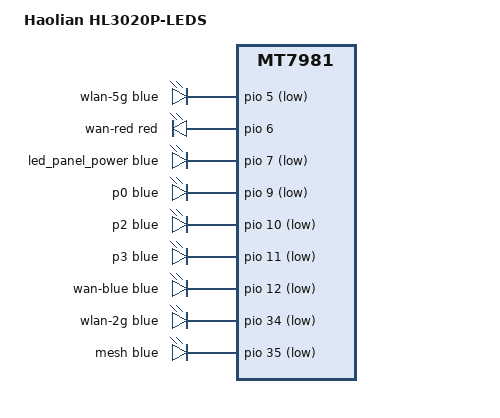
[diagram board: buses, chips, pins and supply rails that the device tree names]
// SPDX-License-Identifier: GPL-2.0-only OR MIT

#include "mt7981b-haolian-hl3020p.dts"

/ {
	model = "Haolian HL3020P-LEDS";
	compatible = "haolian,hl3020p-leds", "mediatek,mt7981";

	aliases {
		led-boot = &led_panel_power;
		led-failsafe = &led_panel_power;
		led-running = &led_panel_power;
		led-upgrade = &led_panel_power;
	};

	leds {
		/delete-node/ led-0;
		/delete-node/ led-1;
		/delete-node/ led-2;
		/delete-node/ led-3;
		/delete-node/ led-4;
		/delete-node/ led-5;
		/delete-node/ led-6;
		/delete-node/ led-7;
		/delete-node/ led-8;

		wlan-5g {
			color = <LED_COLOR_ID_BLUE>;
			function = LED_FUNCTION_WLAN_5GHZ;
			gpios = <&pio 5 GPIO_ACTIVE_LOW>;
		};

		wan-red {
			color = <LED_COLOR_ID_RED>;
			function = LED_FUNCTION_WAN;
			gpios = <&pio 6 GPIO_ACTIVE_HIGH>;
		};

		led_panel_power: power {
			color = <LED_COLOR_ID_BLUE>;
			function = LED_FUNCTION_POWER;
			gpios = <&pio 7 GPIO_ACTIVE_LOW>;
			default-state = "on";
		};

		p0 {
			color = <LED_COLOR_ID_BLUE>;
			function = LED_FUNCTION_LAN;
			function-enumerator = <0>;
			gpios = <&pio 9 GPIO_ACTIVE_LOW>;
		};

		p2 {
			color = <LED_COLOR_ID_BLUE>;
			function = LED_FUNCTION_LAN;
			function-enumerator = <2>;
			gpios = <&pio 10 GPIO_ACTIVE_LOW>;
		};

		p3 {
			color = <LED_COLOR_ID_BLUE>;
			function = LED_FUNCTION_LAN;
			function-enumerator = <3>;
			gpios = <&pio 11 GPIO_ACTIVE_LOW>;
		};

		wan-blue {
			color = <LED_COLOR_ID_BLUE>;
			function = LED_FUNCTION_WAN;
			gpios = <&pio 12 GPIO_ACTIVE_LOW>;
		};

		wlan-2g {
			color = <LED_COLOR_ID_BLUE>;
			function = LED_FUNCTION_WLAN_2GHZ;
			gpios = <&pio 34 GPIO_ACTIVE_LOW>;
		};

		mesh {
			color = <LED_COLOR_ID_BLUE>;
			function = "mesh";
			gpios = <&pio 35 GPIO_ACTIVE_LOW>;
		};
	};
};
